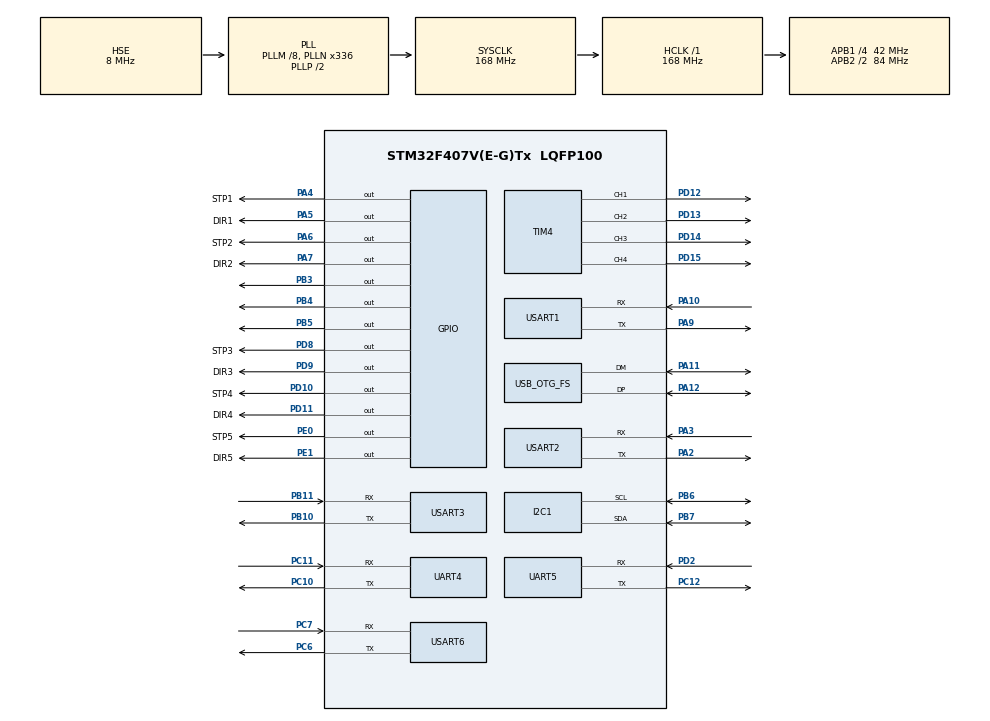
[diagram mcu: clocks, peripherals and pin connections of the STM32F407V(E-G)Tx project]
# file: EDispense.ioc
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Dma.Request0=USART1_RX
Dma.Request1=USART1_TX
Dma.Request2=USART6_RX
Dma.USART1_RX.0.Direction=DMA_PERIPH_TO_MEMORY
Dma.USART1_RX.0.FIFOMode=DMA_FIFOMODE_DISABLE
Dma.USART1_RX.0.Instance=DMA2_Stream2
Dma.USART1_RX.0.MemDataAlignment=DMA_MDATAALIGN_BYTE
Dma.USART1_RX.0.MemInc=DMA_MINC_ENABLE
Dma.USART1_RX.0.Mode=DMA_NORMAL
Dma.USART1_RX.0.PeriphDataAlignment=DMA_PDATAALIGN_BYTE
Dma.USART1_RX.0.PeriphInc=DMA_PINC_DISABLE
Dma.USART1_RX.0.Priority=DMA_PRIORITY_LOW
Dma.USART1_TX.1.Direction=DMA_MEMORY_TO_PERIPH
Dma.USART1_TX.1.FIFOMode=DMA_FIFOMODE_DISABLE
Dma.USART1_TX.1.Instance=DMA2_Stream7
Dma.USART1_TX.1.MemDataAlignment=DMA_MDATAALIGN_BYTE
Dma.USART1_TX.1.MemInc=DMA_MINC_ENABLE
Dma.USART1_TX.1.Mode=DMA_NORMAL
Dma.USART1_TX.1.PeriphDataAlignment=DMA_PDATAALIGN_BYTE
Dma.USART1_TX.1.PeriphInc=DMA_PINC_DISABLE
Dma.USART1_TX.1.Priority=DMA_PRIORITY_LOW
Dma.USART6_RX.2.Direction=DMA_PERIPH_TO_MEMORY
Dma.USART6_RX.2.FIFOMode=DMA_FIFOMODE_DISABLE
Dma.USART6_RX.2.Instance=DMA2_Stream1
Dma.USART6_RX.2.MemDataAlignment=DMA_MDATAALIGN_BYTE
Dma.USART6_RX.2.MemInc=DMA_MINC_ENABLE
Dma.USART6_RX.2.Mode=DMA_NORMAL
Dma.USART6_RX.2.PeriphDataAlignment=DMA_PDATAALIGN_BYTE
Dma.USART6_RX.2.PeriphInc=DMA_PINC_DISABLE
Dma.USART6_RX.2.Priority=DMA_PRIORITY_LOW
Mcu.Family=STM32F4
Mcu.Name=STM32F407V(E-G)Tx
Mcu.Package=LQFP100
NVIC.DMA2_Stream1_IRQn=true\:0\:0\:false\:false\:true\:false\:true\:true
NVIC.DMA2_Stream2_IRQn=true\:0\:0\:false\:false\:true\:false\:true\:true
NVIC.DMA2_Stream7_IRQn=true\:0\:0\:false\:false\:true\:false\:true\:true
NVIC.OTG_FS_IRQn=true\:0\:0\:false\:false\:true\:false\:true\:true
NVIC.PriorityGroup=NVIC_PRIORITYGROUP_4
NVIC.TIM8_CC_IRQn=true\:0\:0\:false\:false\:true\:true\:true\:true
NVIC.USART1_IRQn=true\:0\:0\:false\:false\:true\:true\:true\:true
NVIC.USART6_IRQn=true\:0\:0\:false\:false\:true\:true\:true\:true
PA10.Mode=Asynchronous
PA10.Signal=USART1_RX
PA11.Mode=Device_Only
PA11.Signal=USB_OTG_FS_DM
PA12.Mode=Device_Only
PA12.Signal=USB_OTG_FS_DP
PA13.Mode=Serial_Wire
PA13.Signal=SYS_JTMS-SWDIO
PA14.Mode=Serial_Wire
PA14.Signal=SYS_JTCK-SWCLK
PA2.Mode=Asynchronous
PA2.Signal=USART2_TX
PA3.Mode=Asynchronous
PA3.Signal=USART2_RX
PA4.GPIO_Label=STP1
PA4.Signal=GPIO_Output
PA5.GPIO_Label=DIR1
PA5.Signal=GPIO_Output
PA6.GPIO_Label=STP2
PA6.Signal=GPIO_Output
PA7.GPIO_Label=DIR2
PA7.Signal=GPIO_Output
PA9.Mode=Asynchronous
PA9.Signal=USART1_TX
PB10.Mode=Asynchronous
PB10.Signal=USART3_TX
PB11.Mode=Asynchronous
PB11.Signal=USART3_RX
PB3.Signal=GPIO_Output
PB4.Signal=GPIO_Output
PB5.Signal=GPIO_Output
PB6.Mode=I2C
PB6.Signal=I2C1_SCL
PB7.Mode=I2C
PB7.Signal=I2C1_SDA
PC10.Mode=Asynchronous
PC10.Signal=UART4_TX
PC11.Mode=Asynchronous
PC11.Signal=UART4_RX
PC12.Mode=Asynchronous
PC12.Signal=UART5_TX
PC6.Mode=Asynchronous
PC6.Signal=USART6_TX
PC7.Mode=Asynchronous
PC7.Signal=USART6_RX
PD10.GPIO_Label=STP4
PD10.Signal=GPIO_Output
PD11.GPIO_Label=DIR4
PD11.Signal=GPIO_Output
PD12.Signal=S_TIM4_CH1
PD13.Signal=S_TIM4_CH2
PD14.Signal=S_TIM4_CH3
PD15.Signal=S_TIM4_CH4
PD2.Mode=Asynchronous
PD2.Signal=UART5_RX
PD8.GPIO_Label=STP3
PD8.Signal=GPIO_Output
PD9.GPIO_Label=DIR3
PD9.Signal=GPIO_Output
PE0.GPIO_Label=STP5
PE0.Signal=GPIO_Output
PE1.GPIO_Label=DIR5
PE1.Signal=GPIO_Output
PH0-OSC_IN.Mode=HSE-External-Oscillator
PH0-OSC_IN.Signal=RCC_OSC_IN
PH1-OSC_OUT.Mode=HSE-External-Oscillator
PH1-OSC_OUT.Signal=RCC_OSC_OUT
ProjectManager.HeapSize=0x200
ProjectManager.StackSize=0x400
ProjectManager.TargetToolchain=MDK-ARM V5.32
RCC.48MHZClocksFreq_Value=48000000
RCC.AHBFreq_Value=168000000
RCC.APB1CLKDivider=RCC_HCLK_DIV4
RCC.APB1Freq_Value=42000000
RCC.APB1TimFreq_Value=84000000
RCC.APB2CLKDivider=RCC_HCLK_DIV2
RCC.APB2Freq_Value=84000000
RCC.APB2TimFreq_Value=168000000
RCC.CortexFreq_Value=168000000
RCC.HCLKFreq_Value=168000000
RCC.HSE_VALUE=8000000
RCC.HSI_VALUE=16000000
RCC.LSE_VALUE=32768
RCC.PLLM=8
RCC.PLLN=336
RCC.PLLQ=7
RCC.SYSCLKFreq_VALUE=168000000
RCC.SYSCLKSource=RCC_SYSCLKSOURCE_PLLCLK
RCC.VCOOutputFreq_Value=336000000
SH.S_TIM4_CH1.0=TIM4_CH1,PWM Generation1 CH1
SH.S_TIM4_CH2.0=TIM4_CH2,PWM Generation2 CH2
SH.S_TIM4_CH3.0=TIM4_CH3,PWM Generation3 CH3
SH.S_TIM4_CH4.0=TIM4_CH4,PWM Generation4 CH4
TIM10.Channel=TIM_CHANNEL_1
TIM10.Prescaler=168-1
TIM4.Channel-PWM\ Generation1\ CH1=TIM_CHANNEL_1
TIM4.Channel-PWM\ Generation2\ CH2=TIM_CHANNEL_2
TIM4.Channel-PWM\ Generation3\ CH3=TIM_CHANNEL_3
TIM4.Channel-PWM\ Generation4\ CH4=TIM_CHANNEL_4
TIM8.Channel-Output\ Compare1\ No\ Output=TIM_CHANNEL_1
TIM8.Channel-Output\ Compare2\ No\ Output=TIM_CHANNEL_2
TIM8.Channel-Output\ Compare3\ No\ Output=TIM_CHANNEL_3
TIM8.Channel-Output\ Compare4\ No\ Output=TIM_CHANNEL_4
TIM8.Prescaler=168-1
UART4.VirtualMode=Asynchronous
UART5.VirtualMode=Asynchronous
USART1.VirtualMode=VM_ASYNC
USART2.VirtualMode=VM_ASYNC
USART3.VirtualMode=VM_ASYNC
USART6.VirtualMode=VM_ASYNC
USB_DEVICE.CLASS_NAME_FS=CDC
USB_DEVICE.VirtualMode-CDC_FS=Cdc
USB_DEVICE.VirtualModeFS=Cdc_FS
USB_OTG_FS.VirtualMode=Device_Only
VP_TIM10_VS_ClockSourceINT.Mode=Enable_Timer
VP_TIM10_VS_no_output1.Mode=Output Compare1 No Output
VP_TIM8_VS_no_output1.Mode=Output Compare1 No Output
VP_TIM8_VS_no_output2.Mode=Output Compare2 No Output
VP_TIM8_VS_no_output3.Mode=Output Compare3 No Output
VP_TIM8_VS_no_output4.Mode=Output Compare4 No Output
VP_USB_DEVICE_VS_USB_DEVICE_CDC_FS.Mode=CDC_FS
board=custom

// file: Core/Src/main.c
/* USER CODE BEGIN Header */
/**
  ******************************************************************************
  * @file           : main.c
  * @brief          : Main program body
  ******************************************************************************
  * @attention
  *
  * Copyright (c) 2026 STMicroelectronics.
  * All rights reserved.
  *
  * This software is licensed under terms that can be found in the LICENSE file
  * in the root directory of this software component.
  * If no LICENSE file comes with this software, it is provided AS-IS.
  *
  ******************************************************************************
  */
/* USER CODE END Header */
#include "main.h"
#include "dma.h"
#include "i2c.h"
#include "tim.h"
#include "usart.h"
#include "usb_device.h"
#include "gpio.h"

/* USER CODE BEGIN Includes */
#include "usbd_cdc_if.h"
#include "Stepper.h"
/* USER CODE END Includes */

/* USER CODE BEGIN PV */
Stepper stepper1 = {0};
Stepper stepper2 = {0};
Stepper stepper3 = {0};
Stepper stepper4 = {0};
Stepper stepper5 = {0};
uint8_t screen_rx_buf[50] = {0}; // 串口屏不定长数据缓冲区
extern DMA_HandleTypeDef hdma_usart1_rx; // DMA 句柄
extern DMA_HandleTypeDef hdma_usart6_rx; // DMA 句柄
uint8_t laser_rx_buf[50] = {0};
uint32_t laser_dis = 0; // 激光测距测试距离
/* USER CODE END PV */

void SystemClock_Config(void);
/* USER CODE BEGIN PFP */
void Laser_Dis_Update(void);
/* USER CODE END PFP */

int main(void)
{

  /* MCU Configuration--------------------------------------------------------*/

  /* Reset of all peripherals, Initializes the Flash interface and the Systick. */
  HAL_Init();

  /* Configure the system clock */
  SystemClock_Config();

  /* Initialize all configured peripherals */
  MX_GPIO_Init();
  MX_DMA_Init();
  MX_I2C1_Init();
  MX_TIM4_Init();
  MX_TIM8_Init();
  MX_TIM10_Init();
  MX_UART4_Init();
  MX_UART5_Init();
  MX_USART1_UART_Init();
  MX_USART2_UART_Init();
  MX_USART3_UART_Init();
  MX_USART6_UART_Init();
  MX_USB_DEVICE_Init();
  /* USER CODE BEGIN 2 */
	// 启动步进控制相关定时器
	HAL_TIM_Base_Start_IT(&htim8);
	HAL_TIM_Base_Start_IT(&htim10);
	// STP1: DIR->PA5 STP->PA4 USE_TIMER TIM8_CHANNEL1
	Init_Stepper(&stepper1,DIR1_GPIO_Port,DIR1_Pin,STP1_GPIO_Port,STP1_Pin,&htim8,TIM_CHANNEL_1,0.1125f);
	// STP2: DIR->PA7 STP->PA6 USE_TIMER TIM8_CHANNEL2
	Init_Stepper(&stepper2,DIR2_GPIO_Port,DIR2_Pin,STP2_GPIO_Port,STP2_Pin,&htim8,TIM_CHANNEL_2,0.1125f);
	// STP3: DIR->PD9 STP->PD8 USE_TIMER TIM8_CHANNEL3
	Init_Stepper(&stepper3,DIR3_GPIO_Port,DIR3_Pin,STP3_GPIO_Port,STP3_Pin,&htim8,TIM_CHANNEL_3,0.1125f);
	// STP4: DIR->PD10 STP->PD10 USE_TIMER TIM8_CHANNEL4
	Init_Stepper(&stepper4,DIR4_GPIO_Port,DIR4_Pin,STP4_GPIO_Port,STP4_Pin,&htim8,TIM_CHANNEL_4,0.1125f);
	// STP5: DIR->PE1 STP->PE0 USE_TIMER TIM10_CHANNEL1
	Init_Stepper(&stepper5,DIR5_GPIO_Port,DIR5_Pin,STP5_GPIO_Port,STP5_Pin,&htim10,TIM_CHANNEL_1,0.1125f);

	// 启动不定长数据接收
	HAL_UARTEx_ReceiveToIdle_DMA(&huart1,screen_rx_buf,50);
	__HAL_DMA_DISABLE_IT(&hdma_usart1_rx, DMA_IT_HT); //关闭过半中断
	// 激光测距接收
	HAL_UARTEx_ReceiveToIdle_DMA(&huart6,laser_rx_buf,50);
	__HAL_DMA_DISABLE_IT(&hdma_usart1_rx, DMA_IT_HT); //关闭过半中断
  /* USER CODE END 2 */

  /* Infinite loop */
  /* USER CODE BEGIN WHILE */
  while (1)
  {
		HAL_Delay(10);
    /* USER CODE END WHILE */

  }
}

void SystemClock_Config(void)
{
  RCC_OscInitTypeDef RCC_OscInitStruct = {0};
  RCC_ClkInitTypeDef RCC_ClkInitStruct = {0};

  /** Configure the main internal regulator output voltage
  */
  __HAL_RCC_PWR_CLK_ENABLE();
  __HAL_PWR_VOLTAGESCALING_CONFIG(PWR_REGULATOR_VOLTAGE_SCALE1);

  /** Initializes the RCC Oscillators according to the specified parameters
  * in the RCC_OscInitTypeDef structure.
  */
  RCC_OscInitStruct.OscillatorType = RCC_OSCILLATORTYPE_HSE;
  RCC_OscInitStruct.HSEState = RCC_HSE_ON;
  RCC_OscInitStruct.PLL.PLLState = RCC_PLL_ON;
  RCC_OscInitStruct.PLL.PLLSource = RCC_PLLSOURCE_HSE;
  RCC_OscInitStruct.PLL.PLLM = 8;
  RCC_OscInitStruct.PLL.PLLN = 336;
  RCC_OscInitStruct.PLL.PLLP = RCC_PLLP_DIV2;
  RCC_OscInitStruct.PLL.PLLQ = 7;
  if (HAL_RCC_OscConfig(&RCC_OscInitStruct) != HAL_OK)
  {
    Error_Handler();
  }

  /** Initializes the CPU, AHB and APB buses clocks
  */
  RCC_ClkInitStruct.ClockType = RCC_CLOCKTYPE_HCLK|RCC_CLOCKTYPE_SYSCLK
                              |RCC_CLOCKTYPE_PCLK1|RCC_CLOCKTYPE_PCLK2;
  RCC_ClkInitStruct.SYSCLKSource = RCC_SYSCLKSOURCE_PLLCLK;
  RCC_ClkInitStruct.AHBCLKDivider = RCC_SYSCLK_DIV1;
  RCC_ClkInitStruct.APB1CLKDivider = RCC_HCLK_DIV4;
  RCC_ClkInitStruct.APB2CLKDivider = RCC_HCLK_DIV2;

  if (HAL_RCC_ClockConfig(&RCC_ClkInitStruct, FLASH_LATENCY_5) != HAL_OK)
  {
    Error_Handler();
  }
}

/* USER CODE BEGIN 4 */

// USB 接收数据处理回调函数，已经在底层调用，直接在此处理数据即可
void USB_Data_Process_Callback(uint8_t* Buf, uint32_t *Len){
	CDC_Transmit_FS(Buf,Len[0]); // USB 数据回显
}

// 步进 OC 中断回调
void HAL_TIM_OC_DelayElapsedCallback(TIM_HandleTypeDef *htim)
{
	if (htim == &htim8  && htim->Channel == HAL_TIM_ACTIVE_CHANNEL_1) StepperInOC(&stepper1);
	if (htim == &htim8  && htim->Channel == HAL_TIM_ACTIVE_CHANNEL_2) StepperInOC(&stepper2);
	if (htim == &htim8  && htim->Channel == HAL_TIM_ACTIVE_CHANNEL_3) StepperInOC(&stepper3);
	if (htim == &htim8  && htim->Channel == HAL_TIM_ACTIVE_CHANNEL_4) StepperInOC(&stepper4);
	if (htim == &htim10 && htim->Channel == HAL_TIM_ACTIVE_CHANNEL_1) StepperInOC(&stepper5);
}

// 不定长数据接收回调
void HAL_UARTEx_RxEventCallback(UART_HandleTypeDef *huart, uint16_t Size){
	if(huart == &huart1){
		// 串口屏数据包解码放在此处
		HAL_UART_Transmit(huart,screen_rx_buf,Size,HAL_MAX_DELAY);// 数据回显

		HAL_UARTEx_ReceiveToIdle_DMA(huart, screen_rx_buf, 50); //再次打开接受
		__HAL_DMA_DISABLE_IT(&hdma_usart1_rx, DMA_IT_HT); //关闭过半中断
	} else if(huart == &huart6){
		Laser_Dis_Update();
		HAL_UARTEx_ReceiveToIdle_DMA(huart, laser_rx_buf, 50); //再次打开接受
		__HAL_DMA_DISABLE_IT(&hdma_usart1_rx, DMA_IT_HT); //关闭过半中断
	}
}

void Laser_Dis_Update(void){
	if(laser_rx_buf[6] == 0x30 && laser_rx_buf[29] == 0x20){ // 接收成功 + 关键校验帧验证
		uint8_t byte1 = laser_rx_buf[25] == 0x20 ? 0 : laser_rx_buf[25] - 0x30;
		uint8_t byte2 = laser_rx_buf[26] == 0x20 ? 0 : laser_rx_buf[26] - 0x30;
		uint8_t byte3 = laser_rx_buf[27] == 0x20 ? 0 : laser_rx_buf[27] - 0x30;
		uint8_t byte4 = laser_rx_buf[28] == 0x20 ? 0 : laser_rx_buf[28] - 0x30;
		laser_dis = byte1*1000 + byte2*100 + byte3*10 + byte4; // 古法解码，单位mm
	}
	else return;
}

/* USER CODE END 4 */

void Error_Handler(void)
{
  __disable_irq();
  while (1)
  {
  }
}
